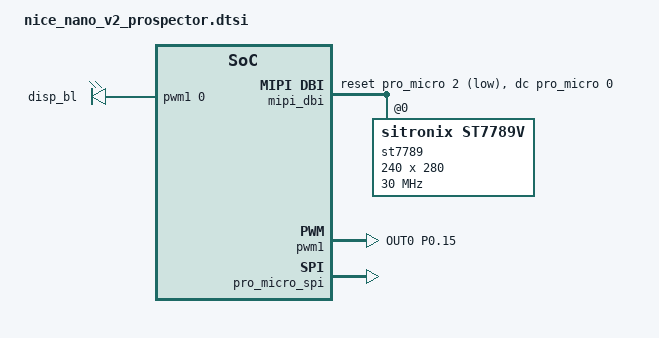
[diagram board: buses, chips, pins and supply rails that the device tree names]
/ {
    pwmleds {
        compatible = "pwm-leds";
        disp_bl: pwm_led_1 {
            pwms = <&pwm1 0 PWM_MSEC(1) PWM_POLARITY_NORMAL>;
        };
    };
};

&pinctrl {
    pwm1_default: pwm1_default {
        group1 {
            psels = <NRF_PSEL(PWM_OUT0, 0, 15)>; /* pro_micro 3 / D3 */
            nordic,invert;
        };
    };

    pwm1_sleep: pwm1_sleep {
        group1 {
            psels = <NRF_PSEL(PWM_OUT0, 0, 15)>; /* pro_micro 3 / D3 */
            low-power-enable;
        };
    };
};

&pwm1 {
    status = "okay";
    pinctrl-0 = <&pwm1_default>;
    pinctrl-1 = <&pwm1_sleep>;
    pinctrl-names = "default", "sleep";
};

&pro_micro_spi {
    status = "okay";
    cs-gpios = <&pro_micro 1 GPIO_ACTIVE_LOW>; /* pro_micro 1 / D1 */
};

/ {
    mipi_dbi {
        compatible = "zephyr,mipi-dbi-spi";
        spi-dev = <&pro_micro_spi>;
        dc-gpios = <&pro_micro 0 GPIO_ACTIVE_HIGH>; /* pro_micro 0 / D0 */
        reset-gpios = <&pro_micro 2 GPIO_ACTIVE_LOW>; /* pro_micro 2 / D2 */
        write-only;
        #address-cells = <1>;
        #size-cells = <0>;

        st7789: st7789v@0 {
            compatible = "sitronix,st7789v";
            mipi-max-frequency = <30000000>;
            mipi-mode = "MIPI_DBI_MODE_SPI_4WIRE";
            reg = <0>;
            width = <240>;
            height = <280>;
            x-offset = <0>;
            y-offset = <20>;
            vcom = <0x19>;
            gctrl = <0x35>;
            vrhs = <0x12>;
            vdvs = <0x20>;
            mdac = <0x00>;
            gamma = <0x01>;
            colmod = <0x05>;
            lcm = <0x2c>;
            porch-param = [ 0c 0c 00 33 33  ];
            cmd2en-param = [ 5a 69 02 01  ];
            pwctrl1-param = [ a4 a1  ];
            pvgam-param = [ D0 04 0D 11 13 2B 3F 54 4C 18 0D 0B 1F 23  ];
            nvgam-param = [ D0 04 0C 11 13 2C 3F 44 51 2F 1F 1F 20 23  ];
            ram-param = [ 00 F0  ];
            rgb-param = [ CD 08 14  ];
        };
    };
};
